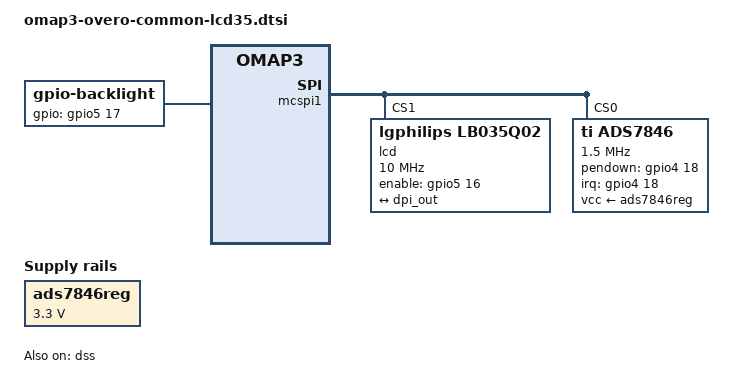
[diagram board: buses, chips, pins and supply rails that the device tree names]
/*
 * Copyright (C) 2014 Florian Vaussard, EPFL Mobots group
 *
 * This program is free software; you can redistribute it and/or modify
 * it under the terms of the GNU General Public License version 2 as
 * published by the Free Software Foundation.
 */

/*
 * 4.3'' LCD panel output for some Gumstix Overo boards (Gallop43, Chestnut43)
 */

&omap3_pmx_core {
	dss_dpi_pins: pinmux_dss_dpi_pins {
		pinctrl-single,pins = <
			OMAP3_CORE1_IOPAD(0x20d4, PIN_OUTPUT | MUX_MODE0)	/* dss_pclk.dss_pclk */
			OMAP3_CORE1_IOPAD(0x20d6, PIN_OUTPUT | MUX_MODE0)	/* dss_hsync.dss_hsync */
			OMAP3_CORE1_IOPAD(0x20d8, PIN_OUTPUT | MUX_MODE0)	/* dss_vsync.dss_vsync */
			OMAP3_CORE1_IOPAD(0x20da, PIN_OUTPUT | MUX_MODE0)	/* dss_acbias.dss_acbias */
			OMAP3_CORE1_IOPAD(0x20dc, PIN_OUTPUT | MUX_MODE0)	/* dss_data0.dss_data0 */
			OMAP3_CORE1_IOPAD(0x20de, PIN_OUTPUT | MUX_MODE0)	/* dss_data1.dss_data1 */
			OMAP3_CORE1_IOPAD(0x20e0, PIN_OUTPUT | MUX_MODE0)	/* dss_data2.dss_data2 */
			OMAP3_CORE1_IOPAD(0x20e2, PIN_OUTPUT | MUX_MODE0)	/* dss_data3.dss_data3 */
			OMAP3_CORE1_IOPAD(0x20e4, PIN_OUTPUT | MUX_MODE0)	/* dss_data4.dss_data4 */
			OMAP3_CORE1_IOPAD(0x20e6, PIN_OUTPUT | MUX_MODE0)	/* dss_data5.dss_data5 */
			OMAP3_CORE1_IOPAD(0x20e8, PIN_OUTPUT | MUX_MODE0)	/* dss_data6.dss_data6 */
			OMAP3_CORE1_IOPAD(0x20ea, PIN_OUTPUT | MUX_MODE0)	/* dss_data7.dss_data7 */
			OMAP3_CORE1_IOPAD(0x20ec, PIN_OUTPUT | MUX_MODE0)	/* dss_data8.dss_data8 */
			OMAP3_CORE1_IOPAD(0x20ee, PIN_OUTPUT | MUX_MODE0)	/* dss_data9.dss_data9 */
			OMAP3_CORE1_IOPAD(0x20f0, PIN_OUTPUT | MUX_MODE0)	/* dss_data10.dss_data10 */
			OMAP3_CORE1_IOPAD(0x20f2, PIN_OUTPUT | MUX_MODE0)	/* dss_data11.dss_data11 */
			OMAP3_CORE1_IOPAD(0x20f4, PIN_OUTPUT | MUX_MODE0)	/* dss_data12.dss_data12 */
			OMAP3_CORE1_IOPAD(0x20f6, PIN_OUTPUT | MUX_MODE0)	/* dss_data13.dss_data13 */
			OMAP3_CORE1_IOPAD(0x20f8, PIN_OUTPUT | MUX_MODE0)	/* dss_data14.dss_data14 */
			OMAP3_CORE1_IOPAD(0x20fa, PIN_OUTPUT | MUX_MODE0)	/* dss_data15.dss_data15 */
			OMAP3_CORE1_IOPAD(0x20fc, PIN_OUTPUT | MUX_MODE0)	/* dss_data16.dss_data16 */
			OMAP3_CORE1_IOPAD(0x20fe, PIN_OUTPUT | MUX_MODE0)	/* dss_data17.dss_data17 */
			OMAP3_CORE1_IOPAD(0x2100, PIN_OUTPUT | MUX_MODE0)	/* dss_data18.dss_data18 */
			OMAP3_CORE1_IOPAD(0x2102, PIN_OUTPUT | MUX_MODE0)	/* dss_data19.dss_data19 */
			OMAP3_CORE1_IOPAD(0x2104, PIN_OUTPUT | MUX_MODE0)	/* dss_data20.dss_data20 */
			OMAP3_CORE1_IOPAD(0x2106, PIN_OUTPUT | MUX_MODE0)	/* dss_data21.dss_data21 */
			OMAP3_CORE1_IOPAD(0x2108, PIN_OUTPUT | MUX_MODE0)	/* dss_data22.dss_data22 */
			OMAP3_CORE1_IOPAD(0x210a, PIN_OUTPUT | MUX_MODE0)	/* dss_data23.dss_data23 */
		>;
	};

	lb035_pins: pinmux_lb035_pins {
		pinctrl-single,pins = <
			OMAP3_CORE1_IOPAD(0x2174, PIN_OUTPUT | MUX_MODE4)	/* uart2_cts.gpio_144 */
		>;
	};

	backlight_pins: pinmux_backlight_pins {
		pinctrl-single,pins = <
			OMAP3_CORE1_IOPAD(0x2176, PIN_OUTPUT | MUX_MODE4)	/* uart2_rts.gpio_145 */
		>;
	};

	mcspi1_pins: pinmux_mcspi1_pins {
		pinctrl-single,pins = <
			OMAP3_CORE1_IOPAD(0x21c8, PIN_INPUT | MUX_MODE0)	/* mcspi1_clk.mcspi1_clk */
			OMAP3_CORE1_IOPAD(0x21ca, PIN_INPUT | MUX_MODE0)	/* mcspi1_simo.mcspi1_simo */
			OMAP3_CORE1_IOPAD(0x21cc, PIN_INPUT | MUX_MODE0)	/* mcspi1_somi.mcspi1_somi */
			OMAP3_CORE1_IOPAD(0x21ce, PIN_INPUT | MUX_MODE0)	/* mcspi1_cs0.mcspi1_cs0 */
		>;
	};

	ads7846_pins: pinmux_ads7846_pins {
		pinctrl-single,pins = <
			OMAP3_CORE1_IOPAD(0x2138, PIN_INPUT_PULLDOWN | MUX_MODE4)	/* csi2_dx1.gpio_114 */
		>;
	};
};

/* Needed to power the DPI pins */
&vpll2 {
	regulator-always-on;
};

&dss {
	status = "ok";

	pinctrl-names = "default";
	pinctrl-0 = <&dss_dpi_pins>;

	port {
		dpi_out: endpoint {
			remote-endpoint = <&lcd_in>;
			data-lines = <24>;
		};
	};
};

/ {
	aliases {
		display0 = &lcd0;
	};

	ads7846reg: ads7846-reg {
		compatible = "regulator-fixed";
		regulator-name = "ads7846-reg";
		regulator-min-microvolt = <3300000>;
		regulator-max-microvolt = <3300000>;
	};

	backlight {
		compatible = "gpio-backlight";
		
		pinctrl-names = "default";
		pinctrl-0 = <&backlight_pins>;
		gpios = <&gpio5 17 GPIO_ACTIVE_HIGH>;		/* gpio_145 */

		default-on;
	};
};

&mcspi1 {
	pinctrl-names = "default";
	pinctrl-0 = <&mcspi1_pins>;

	lcd0: display@0 {
		compatible = "lgphilips,lb035q02";
		label = "lcd";

		reg = <1>;					/* CS1 */
		spi-max-frequency = <10000000>;
		spi-cpol;
		spi-cpha;

		pinctrl-names = "default";
		pinctrl-0 = <&lb035_pins>;
		enable-gpios = <&gpio5 16 GPIO_ACTIVE_HIGH>;	/* gpio_144 */

		port {
			lcd_in: endpoint {
				remote-endpoint = <&dpi_out>;
			};
		};
	};

	/* touch controller */
	ads7846@0 {
		pinctrl-names = "default";
		pinctrl-0 = <&ads7846_pins>;

		compatible = "ti,ads7846";
		vcc-supply = <&ads7846reg>;

		reg = <0>;				/* CS0 */
		spi-max-frequency = <1500000>;

		interrupt-parent = <&gpio4>;
		interrupts = <18 0>;			/* gpio_114 */
		pendown-gpio = <&gpio4 18 0>;

		ti,x-min = /bits/ 16 <0x0>;
		ti,x-max = /bits/ 16 <0x0fff>;
		ti,y-min = /bits/ 16 <0x0>;
		ti,y-max = /bits/ 16 <0x0fff>;
		ti,x-plate-ohms = /bits/ 16 <180>;
		ti,pressure-max = /bits/ 16 <255>;

		linux,wakeup;
	};
};
